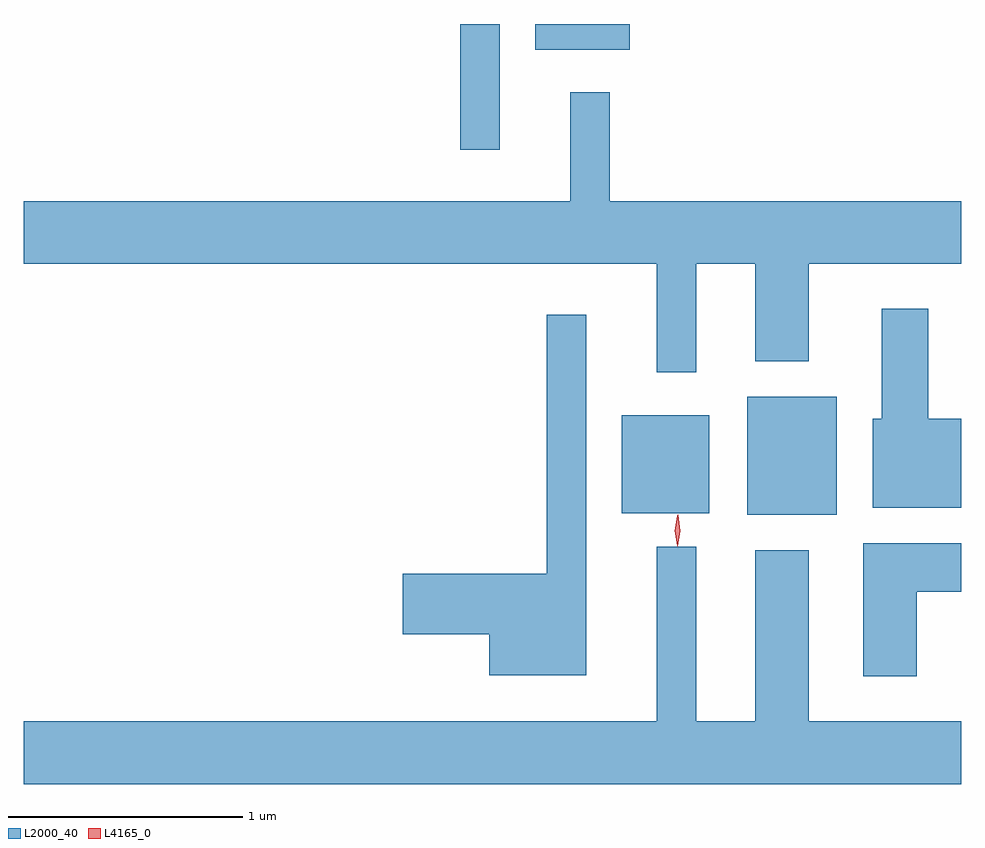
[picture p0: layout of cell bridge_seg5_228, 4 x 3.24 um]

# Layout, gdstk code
import gdstk
lib = gdstk.Library(unit=1e-6, precision=1e-09)
def R(c, l, rs):  # rectangles x0, y0, x1, y1
    for r in rs: c.add(gdstk.rectangle(r[:2], r[2:], *l))
def P(c, l, *ps):  # polygons
    for p in ps: c.add(gdstk.Polygon(p, *l))
L2000_40 = (2000, 40)
L4165_0 = (4165, 0)

bridge_seg5_228 = lib.new_cell('bridge_seg5_228')
R(bridge_seg5_228, L2000_40, [(1238.336,1395.786,1238.719,1396.289), (1237.801,1395.791,1238.174,1396.209), (1237.111,1397.343,1237.279,1397.88), (1237.431,1397.771,1237.834,1397.88)])
P(bridge_seg5_228, L2000_40, [(1238.119,1396.856),(1238.371,1396.856),(1238.371,1396.441),(1238.599,1396.441),(1238.599,1396.856),(1239.249,1396.856),(1239.249,1397.124),(1237.749,1397.124),(1237.749,1397.588),(1237.581,1397.588),(1237.581,1397.124),(1235.249,1397.124),(1235.249,1396.856),(1237.951,1396.856),(1237.951,1396.393),(1238.119,1396.393)],
  [(1239.249,1396.194),(1239.109,1396.194),(1239.109,1396.664),(1238.911,1396.664),(1238.911,1396.194),(1238.871,1396.194),(1238.871,1395.816),(1239.249,1395.816)],
  [(1237.649,1396.638),(1237.481,1396.638),(1237.481,1395.534),(1236.866,1395.534),(1236.866,1395.276),(1237.236,1395.276),(1237.236,1395.101),(1237.649,1395.101)],
  [(1239.059,1395.456),(1239.249,1395.456),(1239.249,1395.664),(1238.831,1395.664),(1238.831,1395.096),(1239.059,1395.096)],
  [(1239.249,1394.904),(1238.599,1394.904),(1238.599,1395.634),(1238.371,1395.634),(1238.371,1394.904),(1238.119,1394.904),(1238.119,1395.648),(1237.951,1395.648),(1237.951,1394.904),(1235.249,1394.904),(1235.249,1394.636),(1239.249,1394.636)])
P(bridge_seg5_228, L4165_0, [(1238.037,1395.653),(1238.027,1395.717),(1238.037,1395.782),(1238.038,1395.782),(1238.038,1395.782),(1238.048,1395.717),(1238.038,1395.653),(1238.038,1395.653)],
  [(1238.04,1395.649),(1238.04,1395.65),(1238.03,1395.718),(1238.04,1395.785),(1238.041,1395.786),(1238.042,1395.785),(1238.05,1395.718),(1238.04,1395.65)])

lib.write_gds('bridge_seg5_228.gds')
